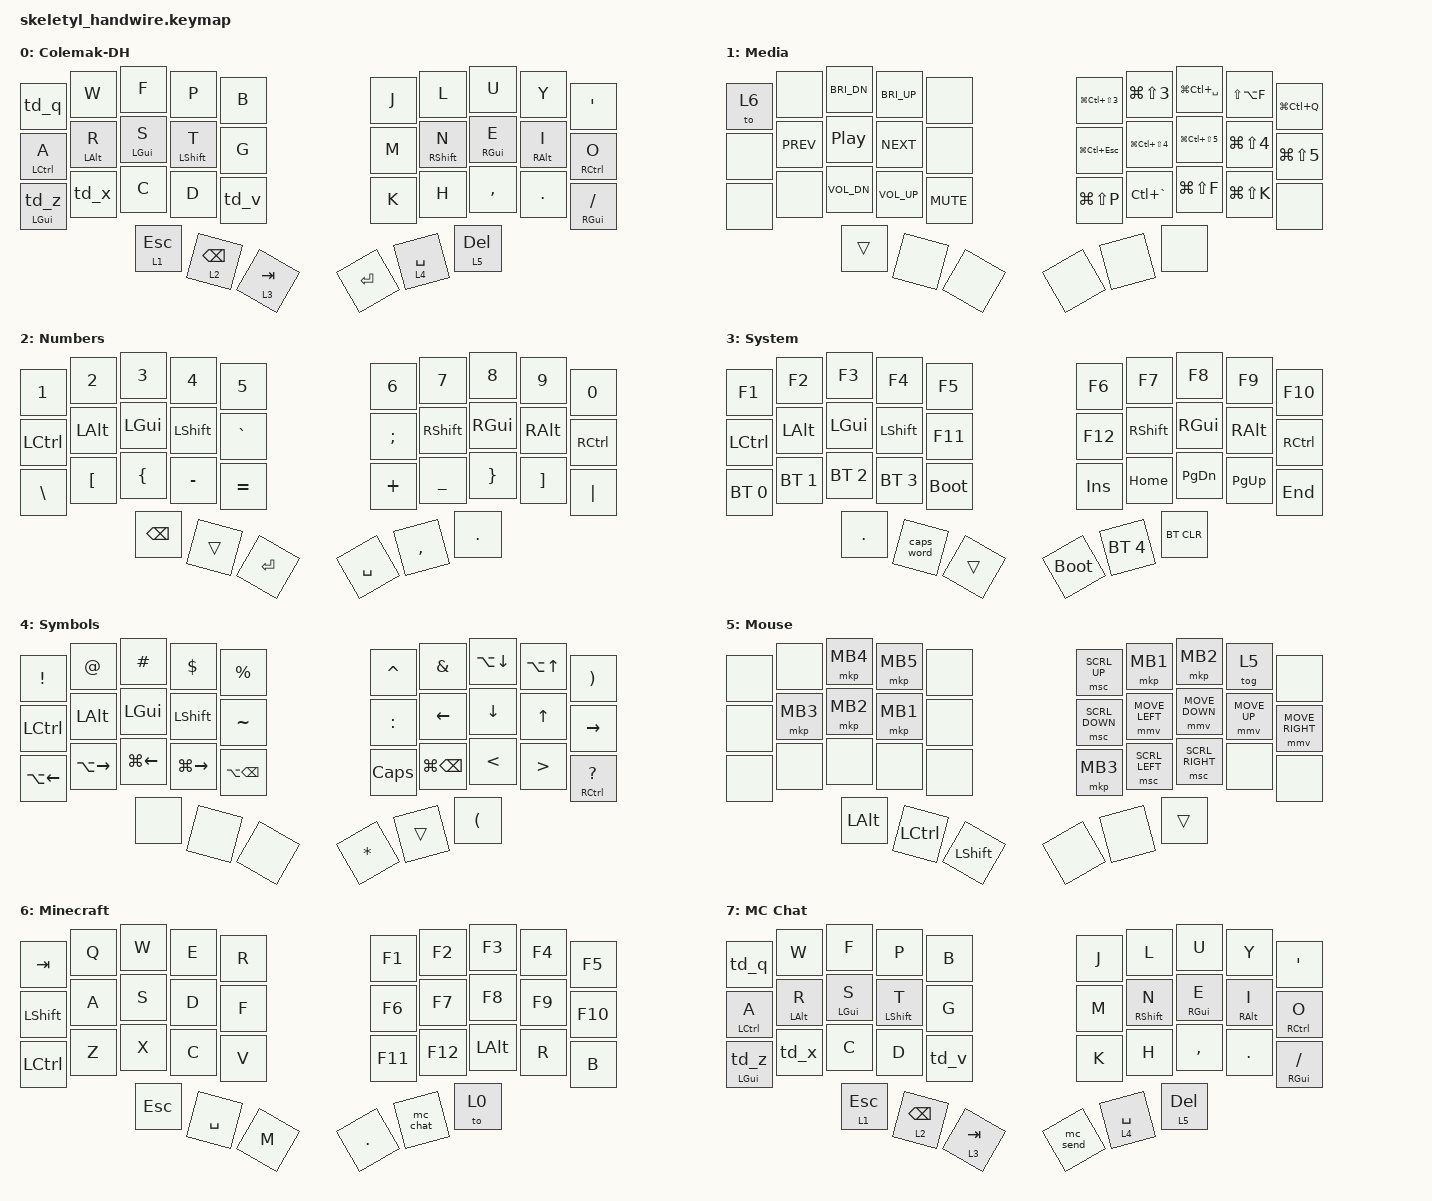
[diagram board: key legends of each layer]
/*
 * Skeletyl 36 — Cantor Remix, layers 0–7.
 *
 * Layer 6 is Minecraft (sticky). Layer 7 is Colemak-DH for in-game chat.
 * The matrix, GPIOs, diode direction, split roles, and thumb transform
 * are not defined here. This file is bindings only.
 *
 * Positions, matching boards/shields/skeletyl_handwire/skeletyl_handwire.dtsi:
 *
 *   0  1  2  3  4     5  6  7  8  9
 *  10 11 12 13 14    15 16 17 18 19
 *  20 21 22 23 24    25 26 27 28 29
 *        30 31 32    33 34 35
 *
 * SPDX-License-Identifier: MIT
 */

#include <behaviors.dtsi>
#include <dt-bindings/zmk/keys.h>
#include <dt-bindings/zmk/bt.h>
#include <dt-bindings/zmk/pointing.h>

/ {
    behaviors {
        /*
         * Home-row mods, one behavior per hand.
         *
         * Not the stock &mt. Stock mod-tap is flavor "hold-preferred", which
         * turns same-hand rolls into modifiers. These follow ZMK's positional
         * home-row-mod setup:
         *
         *   flavor "balanced"
         *     A hold wins when the other key is pressed and released while
         *     this one is still down. A quick roll that releases this key
         *     first stays a letter.
         *   hold-trigger-key-positions
         *     Only the opposite hand (including its thumbs) can force a hold.
         *     Same-hand keys are absent from the list, so a same-hand roll
         *     resolves to letters.
         *   hold-trigger-on-release
         *     The modifier is decided when that opposite key is released,
         *     which is the pairing ZMK documents for this setup.
         *   require-prior-idle-ms
         *     While typing faster than this, the key is a letter immediately,
         *     so a roll cannot become a modifier.
         *   quick-tap-ms
         *     Tap then quickly hold repeats the letter (shift-select, etc.).
         *
         * tapping-term-ms is 350. Opposite-hand chords do not depend on it,
         * because of the trigger list. It is the window for a deliberate
         * same-hand modifier: hold at least this long, then tap.
         *
         * Left hand uses the left modifiers. Right hand uses the right
         * modifiers (RSHFT/RCTRL/RALT/RGUI). macOS treats both sides as
         * Shift, Control, Option, and Command.
         */
        hml: home_row_mod_left {
            compatible = "zmk,behavior-hold-tap";
            #binding-cells = <2>;
            flavor = "balanced";
            tapping-term-ms = <350>;
            quick-tap-ms = <175>;
            require-prior-idle-ms = <150>;
            hold-trigger-on-release;
            bindings = <&kp>, <&kp>;
            hold-trigger-key-positions = <
                 5  6  7  8  9
                15 16 17 18 19
                25 26 27 28 29
                       33 34 35
            >;
        };

        hmr: home_row_mod_right {
            compatible = "zmk,behavior-hold-tap";
            #binding-cells = <2>;
            flavor = "balanced";
            tapping-term-ms = <350>;
            quick-tap-ms = <175>;
            require-prior-idle-ms = <150>;
            hold-trigger-on-release;
            bindings = <&kp>, <&kp>;
            hold-trigger-key-positions = <
                 0  1  2  3  4
                10 11 12 13 14
                20 21 22 23 24
                       30 31 32
            >;
        };

        /*
         * Thumb layer-taps. Separate from the home-row mods on purpose:
         * a layer must activate for same-hand keys too (hold BSPC, tap Q),
         * so there is no opposite-hand trigger list and no prior-idle cutoff.
         *
         * flavor "balanced" rather than the stock &lt flavor "tap-preferred".
         * Tap-preferred waits out the whole tapping term before the layer
         * exists, which makes layer taps feel late. Balanced activates the
         * layer as soon as another key is pressed and released under the thumb.
         *
         * retro-tap: if the thumb was held but nothing else was pressed, the
         * tap key still fires on release (a slow ESC is still ESC).
         * quick-tap-ms: tap then hold repeats ESC / BSPC / TAB / SPACE / DEL.
         */
        thumb: thumb_layer_tap {
            compatible = "zmk,behavior-hold-tap";
            #binding-cells = <2>;
            flavor = "balanced";
            tapping-term-ms = <350>;
            quick-tap-ms = <200>;
            retro-tap;
            bindings = <&mo>, <&kp>;
        };

        /* Double tap = Cmd+C / Cmd+X / Cmd+V / Cmd+Z. Single tap = the letter.
         * This is ZMK's tap-dance, the direct stand-in for QMK
         * ACTION_TAP_DANCE_DOUBLE. The second tap has to land within
         * 350 ms; slower than that, you get the letter twice. A single tap
         * is also delayed by that long, so Q, Z, X, and V feel late.
         * macOS Command, not Control. */
        td_q: tap_dance_q {
            compatible = "zmk,behavior-tap-dance";
            #binding-cells = <0>;
            tapping-term-ms = <350>;
            bindings = <&kp Q>, <&kp LG(C)>;
        };

        td_x: tap_dance_x {
            compatible = "zmk,behavior-tap-dance";
            #binding-cells = <0>;
            tapping-term-ms = <350>;
            bindings = <&kp X>, <&kp LG(X)>;
        };

        td_v: tap_dance_v {
            compatible = "zmk,behavior-tap-dance";
            #binding-cells = <0>;
            tapping-term-ms = <350>;
            bindings = <&kp V>, <&kp LG(V)>;
        };

        td_z: tap_dance_z {
            compatible = "zmk,behavior-tap-dance";
            #binding-cells = <0>;
            tapping-term-ms = <350>;
            bindings = <&kp Z>, <&kp LG(Z)>;
        };

        /*
         * Hold Z or / for Command. Any other key, same hand or not, turns
         * the hold into Command. A press that is released with nothing else
         * down still types the character.
         *
         * Z keeps its double tap. The tap side is the Z tap-dance, so a
         * second tap within 350 ms is still Undo. quick-tap-ms matches that
         * window so the second tap is not swallowed by the hold. Hold-tap
         * always takes two parameters; the second one is unused because the
         * tap-dance takes none, so the key is written `&zcmd LGUI 0`.
         */
        cmdh: command_hold {
            compatible = "zmk,behavior-hold-tap";
            #binding-cells = <2>;
            flavor = "balanced";
            tapping-term-ms = <350>;
            quick-tap-ms = <175>;
            retro-tap;
            bindings = <&kp>, <&kp>;
        };

        zcmd: command_hold_z {
            compatible = "zmk,behavior-hold-tap";
            #binding-cells = <2>;
            flavor = "balanced";
            tapping-term-ms = <350>;
            quick-tap-ms = <350>;
            retro-tap;
            bindings = <&kp>, <&td_z>;
        };

    };

    macros {
        /* Minecraft thumb T: send T (opens chat in-game), then layer 7. */
        mc_chat: mc_chat_macro {
            compatible = "zmk,behavior-macro";
            #binding-cells = <0>;
            bindings = <&kp T>, <&to 7>;
        };

        /* Chat-layer Enter: send the message, return to Minecraft (6). */
        mc_send: mc_send_macro {
            compatible = "zmk,behavior-macro";
            #binding-cells = <0>;
            bindings = <&kp RET>, <&to 6>;
        };
    };

    /*
     * Combos fire on base and on the Minecraft chat layer. Both keys have
     * to go down within 50 ms, so a normal roll does not count.
     *
     *   G + M   caps word. These are the two home keys across the gap.
     *           "gm" / "mg" almost never overlap in real typing.
     *   B + J   key repeat. Same idea on the top row. slow-release keeps
     *           the repeated key held until both fingers come up.
     *   , + .   colon, so ":" does not need the symbols layer.
     *   Z + X   redo, Cmd+Shift+Z. Press them together. Holding Z and then
     *           tapping X is Cmd+X, because Z held is Command.
     */
    combos {
        compatible = "zmk,combos";

        combo_caps_word {
            timeout-ms = <50>;
            key-positions = <14 15>;
            bindings = <&caps_word>;
            layers = <0 7>;
        };

        combo_repeat {
            timeout-ms = <50>;
            key-positions = <4 5>;
            bindings = <&key_repeat>;
            layers = <0 7>;
            slow-release;
        };

        combo_colon {
            timeout-ms = <50>;
            key-positions = <27 28>;
            bindings = <&kp COLON>;
            layers = <0 7>;
        };

        combo_redo {
            timeout-ms = <50>;
            key-positions = <20 21>;
            bindings = <&kp LG(LS(Z))>;
            layers = <0 7>;
        };
    };

    keymap {
        compatible = "zmk,keymap";

        /* ------------------------------------------------------------------
         * 0  BASE — Colemak-DH
         *
         *  Q*  W  F  P  B   |  J  L  U  Y  '
         *  A†  R† S† T† G   |  M  N‡ E‡ I‡ O‡
         *  Z*  X* C  D  V*  |  K  H  ,  .  /
         *      ESC/1 BSPC/2 TAB/3 | RET SPC/4 DEL/5
         *
         * Right thumbs, by letter column: J gets Enter, L gets Space,
         * E gets Delete. Delete is the inner thumb.
         *
         *  * double tap = Cmd+letter (C, Z, X, V)
         *  † left mods:   CTRL ALT  GUI  SHIFT
         *  ‡ right mods:  SHIFT GUI  ALT  CTRL
         * ------------------------------------------------------------------ */
        base_layer {
            display-name = "Colemak-DH";
            bindings = <
                &td_q       &kp W        &kp F        &kp P         &kp B          &kp J        &kp L         &kp U        &kp Y        &kp SQT
                &hml LCTRL A &hml LALT R  &hml LGUI S &hml LSHFT T  &kp G          &kp M        &hmr RSHFT N  &hmr RGUI E &hmr RALT I  &hmr RCTRL O
                &zcmd LGUI 0 &td_x       &kp C        &kp D         &td_v          &kp K        &kp H         &kp COMMA    &kp DOT      &cmdh RGUI FSLH
                                         &thumb 1 ESC &thumb 2 BSPC &thumb 3 TAB   &kp RET      &thumb 4 SPACE &thumb 5 DEL
            >;
        };

        /* ------------------------------------------------------------------
         * 1  MEDIA / BRIGHTNESS. Held by the outer left thumb (ESC).
         *
         * The QMK rows were written as 6 keys on the left of a wider Cantor.
         * The extra key is the unused outer column, so it is dropped here.
         * What remains, left to right:
         *
         *   MC   --  BRI-  BRI+  --  |  CTLS3 SS3 EMJ FMT LOCK
         *   --  PREV PLAY NEXT  --  |  STOP CTLSS CTLREC SS REC
         *   --  --  VOL-  VOL+ MUTE |  PAL  TERM FIND   DELL --
         *          ___   --   --    |  --   --    --
         *
         * Top-left is sticky TO(6) Minecraft.
         *
         * Capture keys, Control versions first:
         *   CTLS3  J  Cmd+Ctrl+Shift+3  whole screen, clipboard
         *   SS3    L  Cmd+Shift+3       whole screen, saved as a file
         *   EMJ    U  Cmd+Ctrl+Space    emoji picker
         *   LOCK   '  Cmd+Ctrl+Q        lock the screen
         *   FMT    Y  Shift+Option+F    format the file
         *   STOP   M  Cmd+Ctrl+Esc      stop a recording
         *   PAL    K  Cmd+Shift+P       command palette
         *   TERM   H  Ctrl+`            show or hide the terminal
         *   FIND   ,  Cmd+Shift+F       search across files
         *   DELL   .  Cmd+Shift+K       delete the line
         *   CTLSS  N  Cmd+Ctrl+Shift+4  selection, clipboard
         *   CTLREC E  Cmd+Ctrl+Shift+5  recording toolbar, clipboard
         *   SS     I  Cmd+Shift+4       selection, saved as a file
         *   REC    O  Cmd+Shift+5       recording toolbar, saved as a file
         *
         * Cmd+Shift+5 opens the macOS toolbar; pick record-screen or
         * record-selection there.
         * ------------------------------------------------------------------ */
        media_layer {
            display-name = "Media";
            bindings = <
                &to 6  &none    &kp C_BRI_DN &kp C_BRI_UP &none           &kp LG(LC(LS(N3))) &kp LG(LS(N3)) &kp LG(LC(SPACE)) &kp LS(LA(F)) &kp LG(LC(Q))
                &none  &kp C_PREV &kp C_PP   &kp C_NEXT   &none           &kp LG(LC(ESC)) &kp LG(LC(LS(N4))) &kp LG(LC(LS(N5))) &kp LG(LS(N4)) &kp LG(LS(N5))
                &none  &none    &kp C_VOL_DN &kp C_VOL_UP &kp C_MUTE      &kp LG(LS(P)) &kp LC(GRAVE) &kp LG(LS(F)) &kp LG(LS(K)) &none
                                &trans       &none        &none           &none  &none            &none
            >;
        };

        /* ------------------------------------------------------------------
         * 2  NUMBERS / SYMBOLS. Held by the middle left thumb (BSPC).
         *
         *   1    2    3    4    5   |  6    7    8    9    0
         *   CTL  ALT  GUI  SFT  `   |  ;    RSFT RGUI RALT RCTL
         *   \    [    {    -    =   |  +    _    }    ]    |
         *        BSPC  ___  RET     |  SPC  ,    .
         * ------------------------------------------------------------------ */
        num_layer {
            display-name = "Numbers";
            bindings = <
                &kp N1    &kp N2    &kp N3    &kp N4    &kp N5      &kp N6    &kp N7    &kp N8    &kp N9    &kp N0
                &kp LCTRL &kp LALT  &kp LGUI  &kp LSHFT &kp GRAVE   &kp SEMI  &kp RSHFT &kp RGUI  &kp RALT  &kp RCTRL
                &kp BSLH  &kp LBKT  &kp LBRC  &kp MINUS &kp EQUAL   &kp PLUS  &kp UNDER &kp RBRC  &kp RBKT  &kp PIPE
                                    &kp BSPC  &trans    &kp RET     &kp SPACE &kp COMMA &kp DOT
            >;
        };

        /* ------------------------------------------------------------------
         * 3  FUNCTION / SYSTEM / BLUETOOTH. Held by the inner left thumb (TAB).
         *
         *   F1   F2   F3   F4   F5  |  F6   F7   F8   F9   F10
         *   CTL  ALT  GUI  SFT  F11 |  F12  RSFT RGUI RALT RCTL
         *   BT0  BT1  BT2  BT3  BOOT|  INS  HOME PGDN PGUP END
         *        .    WORD  ___     |  BOOT BT4  BTCLR
         *
         * WORD is caps word, not Caps Lock. The next word is shifted, then
         * it turns itself off. G+M on the base layer does the same thing.
         *
         * BT_SEL 0–3 and the left bootloader are on the left half, so that
         * bootloader reboots the left controller. BT_SEL 4, the right
         * bootloader, and BT_CLR are right-thumb keys, so the right
         * bootloader reboots the right controller. BT_CLR only clears the
         * profile that is selected right now, and it takes the layer hold
         * plus the inner right thumb, the one in E's column.
         *
         * Not carried over, because the 36 keys were already full:
         *   calculator (C_AL_CALC), Cmd+1, Cmd+2, Print Screen.
         * Minecraft entry is Media top-left (&to 6), not on this layer.
         * ------------------------------------------------------------------ */
        sys_layer {
            display-name = "System";
            bindings = <
                &kp F1    &kp F2    &kp F3    &kp F4       &kp F5         &kp F6   &kp F7    &kp F8     &kp F9     &kp F10
                &kp LCTRL &kp LALT  &kp LGUI  &kp LSHFT    &kp F11        &kp F12  &kp RSHFT &kp RGUI   &kp RALT   &kp RCTRL
                &bt BT_SEL 0 &bt BT_SEL 1 &bt BT_SEL 2 &bt BT_SEL 3 &bootloader  &kp INS &kp HOME &kp PG_DN &kp PG_UP &kp END
                                    &kp DOT   &caps_word   &trans         &bootloader &bt BT_SEL 4 &bt BT_CLR
            >;
        };

        /* ------------------------------------------------------------------
         * 4  SYMBOLS / NAVIGATION. Held by the middle right thumb (SPACE).
         *
         *   !  @  #  $  %   |  ^  &  LND LNU )
         *   CTL ALT GUI SFT ~ | :  LEFT DOWN UP RIGHT
         *   W← W→  LN← LN→ WDEL |  CAPS LDEL <  >  ?/CTL
         *      -- -- --     |  *  ___ (
         *
         * E is Down, I is Up. * and ( moved to the right thumbs so the keys
         * above those arrows can move a line.
         *   U LND  Option+Down  move the line down
         *   Y LNU  Option+Up    move the line up
         * Hold ? for Control. A tap is still ?.
         *
         * Bottom row, while Space is held:
         *   Z W←    Option+Left      previous word
         *   X W→    Option+Right     next word
         *   C LN←   Command+Left     start of line
         *   D LN→   Command+Right    end of line
         *   V WDEL  Option+Backspace delete the previous word
         *   H LDEL  Command+Backspace delete to the start of the line
         *   K CAPS  Caps Lock
         *
         * B+J on the base layer still repeats the last key.
         * ------------------------------------------------------------------ */
        sym_layer {
            display-name = "Symbols";
            bindings = <
                &kp EXCL  &kp AT    &kp HASH  &kp DLLR  &kp PRCNT    &kp CARET &kp AMPS &kp LA(DOWN) &kp LA(UP) &kp RPAR
                &kp LCTRL &kp LALT  &kp LGUI  &kp LSHFT &kp TILDE    &kp COLON &kp LEFT &kp DOWN  &kp UP    &kp RIGHT
                &kp LA(LEFT) &kp LA(RIGHT) &kp LG(LEFT) &kp LG(RIGHT) &kp LA(BSPC) &kp CAPS &kp LG(BSPC) &kp LT &kp GT &cmdh RCTRL QMARK
                                    &none     &none     &none        &kp STAR  &trans   &kp LPAR
            >;
        };

        /* ------------------------------------------------------------------
         * 5  MOUSE. Held by the inner right thumb (DEL), same column as E.
         *
         * QMK's three acceleration levels (MS_ACL0/1/2) have no per-key
         * equivalent. ZMK accelerates inside &mmv (time-to-max-speed-ms and
         * acceleration-exponent on that one behavior), so those three spots
         * are &none rather than a fake key.
         *
         * QMK buttons 6, 7, and 8 are also &none. ZMK's mouse button behavior
         * only defines MB1–MB5.
         *
         *   --   --   MB4  MB5  --  |  WHUP MB1  MB2  LOCK --
         *   --   MB3  MB2  MB1  --  |  WHDN LEFT DOWN UP   RIGHT
         *   --   --   --   --   --  |  MB3  WHL  WHR  --   --
         *        ALT  CTL  SFT      |  --   --   ___
         *
         * Button order on the home row is the QMK order: middle, right, left.
         * L and U (the keys above left and down) are left click and right
         * click, so a click sits on the same hand as the pointer. K, under
         * them, is middle click.
         *
         * LOCK is &tog 5 on Y. Tap it while this layer is held and the layer
         * stays up after Delete is released. Tap Y again to leave.
         * ------------------------------------------------------------------ */
        mouse_layer {
            display-name = "Mouse";
            bindings = <
                &none      &none      &mkp MB4   &mkp MB5   &none      &msc SCRL_UP   &mkp MB1       &mkp MB2        &tog 5       &none
                &none      &mkp MB3   &mkp MB2   &mkp MB1   &none      &msc SCRL_DOWN &mmv MOVE_LEFT &mmv MOVE_DOWN &mmv MOVE_UP &mmv MOVE_RIGHT
                &none      &none      &none      &none      &none      &mkp MB3       &msc SCRL_LEFT &msc SCRL_RIGHT &none       &none
                                    &kp LALT   &kp LCTRL  &kp LSHFT   &none          &none          &trans
            >;
        };

        /* ------------------------------------------------------------------
         * 6  MINECRAFT — sticky. Enter from Media top-left (&to 6).
         *
         *   TAB  Q  W  E  R  |  F1  F2  F3  F4  F5
         *   SFT  A  S  D  F  |  F6  F7  F8  F9  F10
         *   CTL  Z  X  C  V  |  F11 F12 ALT  R  B
         *       ESC SPC M    |  .   T*  TO(0)
         *
         * Thumb T sends T (Minecraft opens chat) then TO(7) Colemak chat.
         * Thumb beside T is TO(0) back to Colemak. Dot is plain "." .
         * Middle-left thumb is Space (jump). Thumb right of Space is M.
         * ------------------------------------------------------------------ */
        minecraft_layer {
            display-name = "Minecraft";
            bindings = <
                &kp TAB   &kp Q     &kp W     &kp E     &kp R       &kp F1    &kp F2    &kp F3    &kp F4    &kp F5
                &kp LSHFT &kp A     &kp S     &kp D     &kp F       &kp F6    &kp F7    &kp F8    &kp F9    &kp F10
                &kp LCTRL &kp Z     &kp X     &kp C     &kp V       &kp F11   &kp F12   &kp LALT  &kp R     &kp B
                                    &kp ESC   &kp SPACE &kp M       &kp DOT   &mc_chat  &to 0
            >;
        };

        /* ------------------------------------------------------------------
         * 7  MINECRAFT CHAT — Colemak-DH for typing in-game.
         *
         * Same as base, except Enter is mc_send: RET then TO(6) Minecraft.
         * Normal layer 0 Enter stays Enter, so everyday typing is untouched.
         * ------------------------------------------------------------------ */
        mc_chat_layer {
            display-name = "MC Chat";
            bindings = <
                &td_q       &kp W        &kp F        &kp P         &kp B          &kp J        &kp L         &kp U        &kp Y        &kp SQT
                &hml LCTRL A &hml LALT R  &hml LGUI S &hml LSHFT T  &kp G          &kp M        &hmr RSHFT N  &hmr RGUI E &hmr RALT I  &hmr RCTRL O
                &zcmd LGUI 0 &td_x       &kp C        &kp D         &td_v          &kp K        &kp H         &kp COMMA    &kp DOT      &cmdh RGUI FSLH
                                         &thumb 1 ESC &thumb 2 BSPC &thumb 3 TAB   &mc_send     &thumb 4 SPACE &thumb 5 DEL
            >;
        };
    };
};
